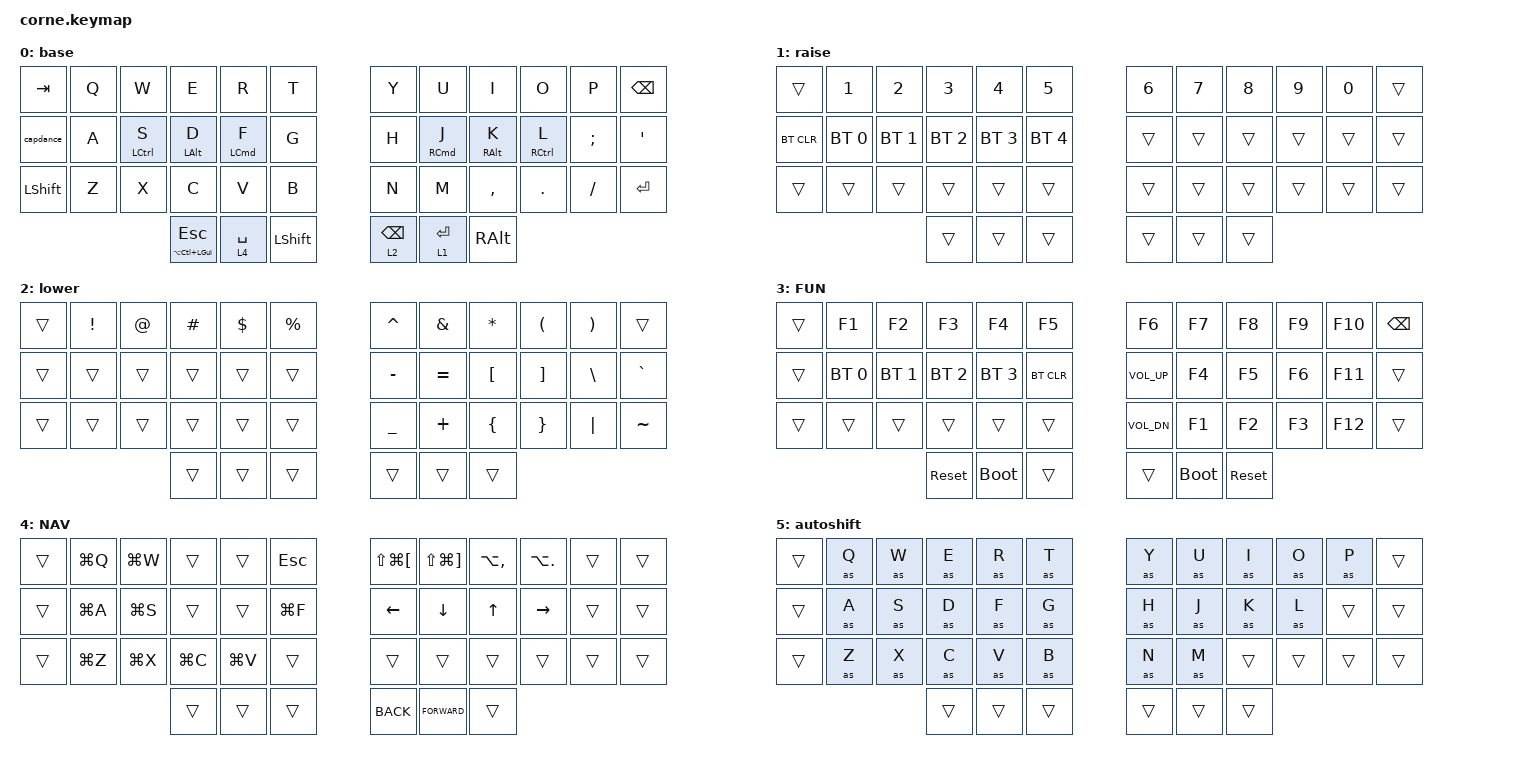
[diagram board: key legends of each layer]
#include <behaviors.dtsi>
#include <dt-bindings/zmk/bt.h>
#include <dt-bindings/zmk/keys.h>

// dt-formatter: indent = "  "
// dt-formatter: multilineIntegerCellsIndent = "reindent"
// dt-formatter: multilineListCommaStyle = "leading"

&sk {
  /delete-property/ ignore-modifiers;
};

/ {
  combos {
    compatible = "zmk,combos";

    tab {
      key-positions = <2 3>;
      bindings = <&kp TAB>;
    };

    ctrl {
      key-positions = <26 27>;
      bindings = <&kp LCTRL>;
    };

    cmd {
      key-positions = <37 38>;
      bindings = <&kp LCMD>;
    };

    alt {
      key-positions = <39 40>;
      bindings = <&kp LEFT_ALT>;
    };

    shift {
      key-positions = <8 9>;
      bindings = <&kp LSHIFT>;
    };

    caps_word {
      key-positions = <17 18>;
      bindings = <&caps_word>;
    };

    delete {
      key-positions = <32 33>;
      bindings = <&kp DEL>;
    };
  };

  macros {
    shift: with_lshift {
      compatible = "zmk,behavior-macro-one-param";
      #binding-cells = <1>;
      label = "KEY_PRESS_WITH_LEFT_SHIFT_MODIFIER";
      bindings
        = <&macro_press>
        , <&kp LSHFT>
        , <&macro_tap>
        , <&macro_param_1to1 &kp MACRO_PLACEHOLDER>
        , <&macro_release>
        , <&kp LSHFT>
        ;
    };
    as: autoshift {
      compatible = "zmk,behavior-macro-one-param";
      #binding-cells = <1>;
      label = "AUTOSHIFT_KEYPRESS";
      bindings
        = <&macro_press>
        , <&macro_param_1to1 &macro_param_1to2 &as_ht MACRO_PLACEHOLDER MACRO_PLACEHOLDER>
        , <&macro_pause_for_release>
        , <&macro_release>
        , <&macro_param_1to1 &macro_param_1to2 &as_ht MACRO_PLACEHOLDER MACRO_PLACEHOLDER>
        ;
    };
  };

  behaviors {
    as_ht: autoshift_hold_tap {
      compatible = "zmk,behavior-hold-tap";
      #binding-cells = <2>;
      label = "AUTOSHIFT_HOLD_TAP";
      bindings = <&shift>, <&kp>;

      tapping-term-ms = <190>;
    };
    hml: homewrow_mods_left {
      compatible = "zmk,behavior-hold-tap";
      #binding-cells = <2>;
      label = "HOMEROW_MODS_LEFT_HAND";
      bindings = <&kp>, <&kp>;

      hold-trigger-key-positions = <6 7 8 9 10 11 18 19 20 21 22 23 30 31 32 33 34 35 39 40 41>;
    };
    hmr: homewrow_mods_right {
      compatible = "zmk,behavior-hold-tap";
      #binding-cells = <2>;
      label = "HOMEROW_MODS_RIGHT_HAND";
      bindings = <&kp>, <&kp>;

      hold-trigger-key-positions = <0 1 2 3 4 5 12 13 14 15 16 17 24 25 26 27 28 29 36 37 38>;
    };
    capdance: capdance {
      compatible = "zmk,behavior-tap-dance";
      label = "CAPDANCE";
      #binding-cells = <0>;
      bindings = <&caps_word>, <&kp CAPS>;
    };
  };

  conditional_layers {
    compatible = "zmk,conditional-layers";

    tri_layer {
      if-layers = <1 2>;
      then-layer = <3>;
    };
  };

  keymap {
    compatible = "zmk,keymap";

    base {
      bindings = <
        &kp TAB    &kp Q  &kp W         &kp E                 &kp R        &kp T             &kp Y            &kp U        &kp I        &kp O         &kp P          &kp BACKSPACE
        &capdance  &kp A  &hml LCTRL S  &hml LALT D           &hml LCMD F  &kp G             &kp H            &hmr RCMD J  &hmr RALT K  &hmr RCTRL L  &kp SEMICOLON  &kp APOS
        &kp LSHFT  &kp Z  &kp X         &kp C                 &kp V        &kp B             &kp N            &kp M        &kp COMMA    &kp DOT       &kp FSLH       &kp ENTER
                                        &mt LA(LC(LGUI)) ESC  &lt 4 SPACE  &kp LEFT_SHIFT    &lt 2 BACKSPACE  &lt 1 ENTER  &kp RALT
      >;
    };

    raise {
      bindings = <
        &trans      &kp N1        &kp N2        &kp N3        &kp N4        &kp N5          &kp N6  &kp N7  &kp N8  &kp N9  &kp N0  &trans
        &bt BT_CLR  &bt BT_SEL 0  &bt BT_SEL 1  &bt BT_SEL 2  &bt BT_SEL 3  &bt BT_SEL 4    &trans  &trans  &trans  &trans  &trans  &trans
        &trans      &trans        &trans        &trans        &trans        &trans          &trans  &trans  &trans  &trans  &trans  &trans
                                                &trans        &trans        &trans          &trans  &trans  &trans
      >;
    };

    lower {
      bindings = <
        &trans  &kp EXCL  &kp AT  &kp HASH  &kp DLLR  &kp PRCNT    &kp CARET  &kp AMPS   &kp STAR  &kp LPAR  &kp RPAR  &trans
        &trans  &trans    &trans  &trans    &trans    &trans       &kp MINUS  &kp EQUAL  &kp LBKT  &kp RBKT  &kp BSLH  &kp GRAVE
        &trans  &trans    &trans  &trans    &trans    &trans       &kp UNDER  &kp PLUS   &kp LBRC  &kp RBRC  &kp PIPE  &kp TILDE
                                  &trans    &trans    &trans       &trans     &trans     &trans
      >;
    };

    FUN {
      bindings = <
        &trans  &kp F1        &kp F2        &kp F3        &kp F4        &kp F5        &kp F6        &kp F7       &kp F8      &kp F9  &kp F10  &kp BSPC
        &trans  &bt BT_SEL 0  &bt BT_SEL 1  &bt BT_SEL 2  &bt BT_SEL 3  &bt BT_CLR    &kp C_VOL_UP  &kp F4       &kp F5      &kp F6  &kp F11  &trans
        &trans  &trans        &trans        &trans        &trans        &trans        &kp C_VOL_DN  &kp F1       &kp F2      &kp F3  &kp F12  &trans
                                            &sys_reset    &bootloader   &trans        &trans        &bootloader  &sys_reset
      >;
    };

    NAV {
      bindings = <
        &trans  &kp LG(Q)  &kp LG(W)  &trans     &trans     &kp ESC      &kp LS(LG(LBKT))  &kp LS(LG(RBKT))  &kp LA(COMMA)  &kp LA(DOT)  &trans  &trans
        &trans  &kp LG(A)  &kp LG(S)  &trans     &trans     &kp LG(F)    &kp LEFT          &kp DOWN          &kp UP         &kp RIGHT    &trans  &trans
        &trans  &kp LG(Z)  &kp LG(X)  &kp LG(C)  &kp LG(V)  &trans       &trans            &trans            &trans         &trans       &trans  &trans
                                      &trans     &trans     &trans       &kp K_BACK        &kp K_FORWARD     &trans
      >;
    };

    autoshift {
      bindings = <
        &trans  &as Q  &as W  &as E   &as R   &as T     &as Y   &as U   &as I   &as O   &as P   &trans
        &trans  &as A  &as S  &as D   &as F   &as G     &as H   &as J   &as K   &as L   &trans  &trans
        &trans  &as Z  &as X  &as C   &as V   &as B     &as N   &as M   &trans  &trans  &trans  &trans
                              &trans  &trans  &trans    &trans  &trans  &trans
      >;
    };
  };
};
